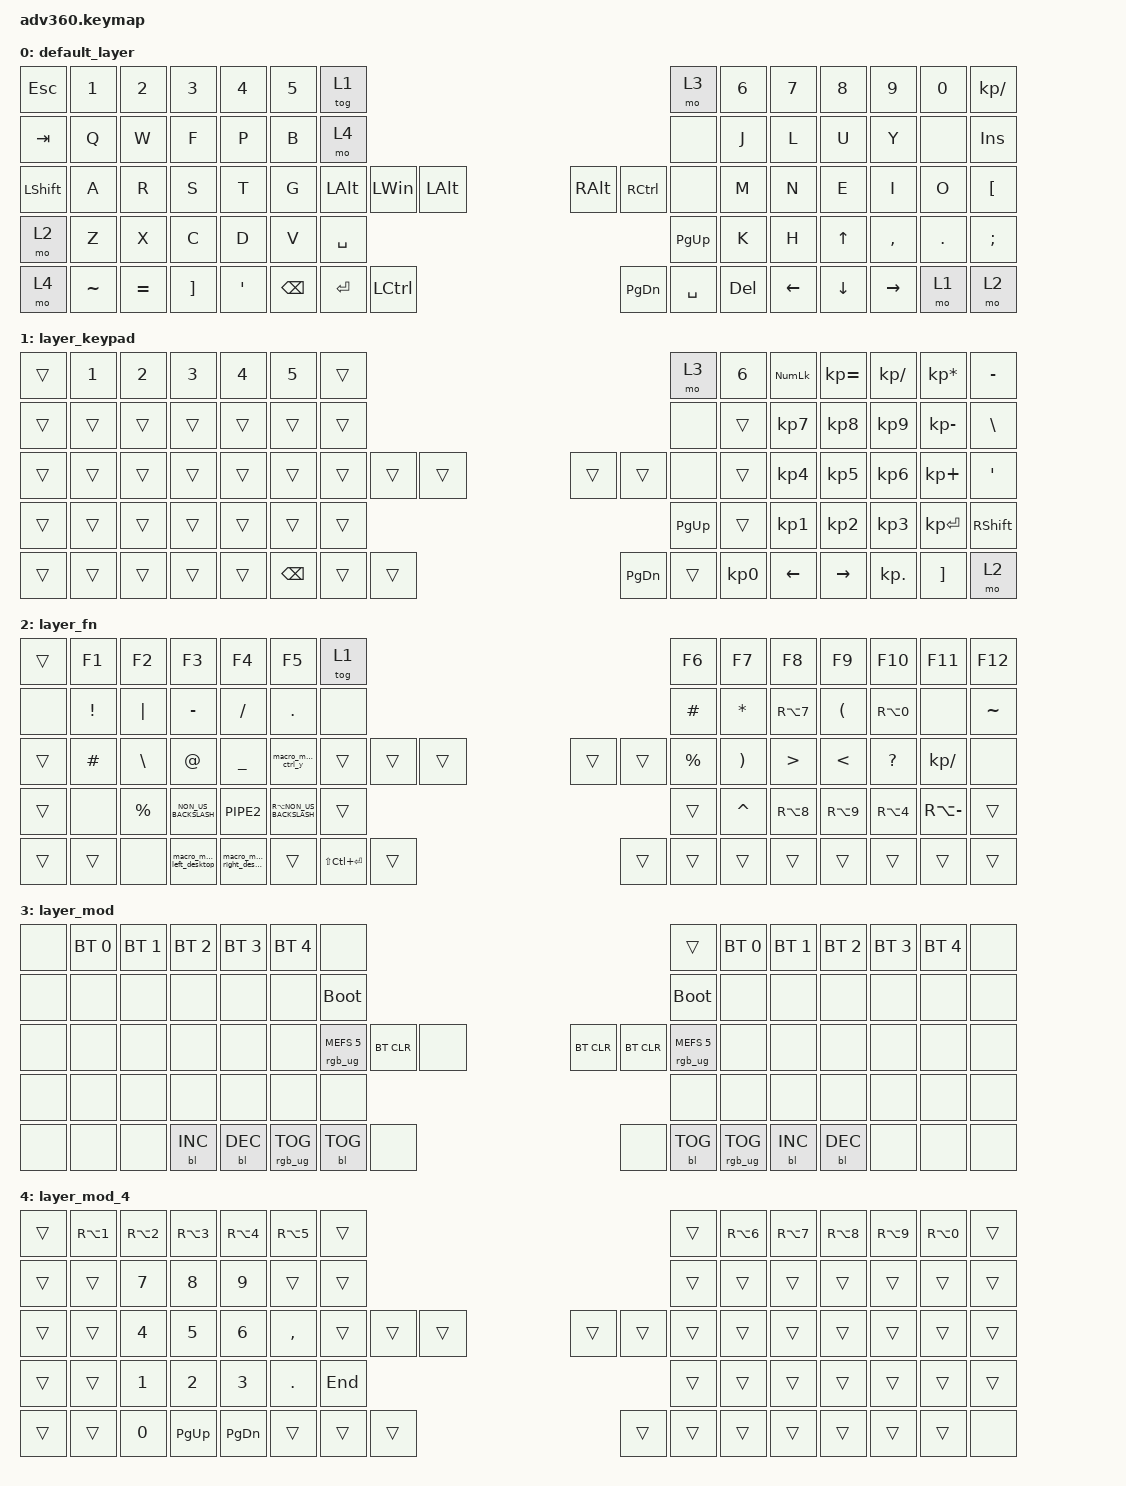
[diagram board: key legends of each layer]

/*
 * Copyright (c) 2020 The ZMK Contributors
 *
 * SPDX-License-Identifier: MIT
 */


/* THIS FILE WAS GENERATED!
 *
 * This file was generated automatically. You may or may not want to
 * edit it directly.
 */

#include <behaviors.dtsi>
#include <dt-bindings/zmk/keys.h>
#include <dt-bindings/zmk/bt.h>
#include <dt-bindings/zmk/rgb.h>
#include <dt-bindings/zmk/backlight.h>

/ {
  behaviors {
    #include "macros.dtsi"
    #include "version.dtsi"

    hm: homerow_mods {
        compatible = "zmk,behavior-hold-tap";
        label = "HOMEROW_MODS";
        #binding-cells = <2>;
        tapping-term-ms = <200>;
        quick_tap_ms = <175>;
        flavor = "tap-preferred";
        bindings = <&kp>, <&kp>;
    };
  };

    keymap {
        compatible = "zmk,keymap";


        default_layer {
            bindings = <
        &kp ESC     &kp N1     &kp N2             &kp N3          &kp N4  &kp N5              &tog 1                                                                              &mo 3  &kp N6    &kp N7    &kp N8     &kp N9   &kp N0     &kp KP_DIVIDE
        &kp TAB      &kp Q      &kp W              &kp F           &kp P   &kp B               &mo 4                                                                              &none   &kp J     &kp L     &kp U      &kp Y    &none        &kp INSERT
 &kp LEFT_SHIFT      &kp A      &kp R              &kp S           &kp T   &kp G            &kp LALT  &kp LEFT_WIN          &kp LALT                  &kp RIGHT_ALT  &kp RCTRL    &none   &kp M     &kp N     &kp E      &kp I    &kp O  &kp LEFT_BRACKET
          &mo 2      &kp Z      &kp X              &kp C           &kp D   &kp V                                           &kp SPACE                      &kp PG_UP                       &kp K     &kp H    &kp UP  &kp COMMA  &kp DOT     &kp SEMICOLON
          &mo 4  &kp TILDE  &kp EQUAL  &kp RIGHT_BRACKET  &kp APOSTROPHE                    &kp BSPC     &kp ENTER  &kp LEFT_CONTROL                      &kp PG_DN  &kp SPACE  &kp DEL          &kp LEFT  &kp DOWN  &kp RIGHT    &mo 1             &mo 2
            >;
        };

        layer_keypad {
            bindings = <
 &trans  &kp N1  &kp N2  &kp N3  &kp N4  &kp N5              &trans                                                         &mo 3  &kp N6  &kp KP_NUM  &kp KP_EQUAL  &kp KP_DIVIDE  &kp KP_MULTIPLY  &kp MINUS
 &trans  &trans  &trans  &trans  &trans  &trans              &trans                                                         &none  &trans   &kp KP_N7     &kp KP_N8      &kp KP_N9     &kp KP_MINUS   &kp BSLH
 &trans  &trans  &trans  &trans  &trans  &trans              &trans  &trans  &trans                     &trans  &trans      &none  &trans   &kp KP_N4     &kp KP_N5      &kp KP_N6      &kp KP_PLUS    &kp SQT
 &trans  &trans  &trans  &trans  &trans  &trans                              &trans                  &kp PG_UP                     &trans   &kp KP_N1     &kp KP_N2      &kp KP_N3     &kp KP_ENTER  &kp RSHFT
 &trans  &trans  &trans  &trans  &trans                    &kp BSPC  &trans  &trans                  &kp PG_DN  &trans  &kp KP_N0            &kp LEFT     &kp RIGHT     &kp KP_DOT         &kp RBKT      &mo 2
            >;
        };

        layer_fn {
            bindings = <
 &trans           &kp F1         &kp F2                     &kp F3                      &kp F4                    &kp F5            &tog 1                                                                  &kp F6                 &kp F7            &kp F8                &kp F9           &kp F10        &kp F11    &kp F12
  &none  &kp EXCLAMATION       &kp PIPE                  &kp MINUS                   &kp SLASH                   &kp DOT             &none                                                                &kp HASH           &kp ASTERISK  &kp RA(NUMBER_7)  &kp LEFT_PARENTHESIS  &kp RA(NUMBER_0)          &none  &kp TILDE
 &trans         &kp HASH  &kp BACKSLASH                &kp AT_SIGN              &kp UNDERSCORE       &macro_macro_ctrl_y            &trans             &trans  &trans                  &trans  &trans  &kp PERCENT  &kp RIGHT_PARENTHESIS  &kp GREATER_THAN         &kp LESS_THAN      &kp QUESTION  &kp KP_DIVIDE      &none
 &trans            &none    &kp PERCENT       &kp NON_US_BACKSLASH                   &kp PIPE2  &kp RA(NON_US_BACKSLASH)                                       &trans                  &trans                                   &kp CARET  &kp RA(NUMBER_8)      &kp RA(NUMBER_9)  &kp RA(NUMBER_4)  &kp RA(MINUS)     &trans
 &trans           &trans          &none  &macro_macro_left_desktop  &macro_macro_right_desktop                                      &trans  &kp LS(LC(ENTER))  &trans                  &trans  &trans       &trans                                   &trans                &trans            &trans         &trans     &trans
            >;
        };

        layer_mod {
            bindings = <
  &none  &bt BT_SEL 0  &bt BT_SEL 1  &bt BT_SEL 2  &bt BT_SEL 3  &bt BT_SEL 4                             &none                                                                              &trans  &bt BT_SEL 0  &bt BT_SEL 1  &bt BT_SEL 2  &bt BT_SEL 3  &bt BT_SEL 4   &none
  &none         &none         &none         &none         &none         &none                       &bootloader                                                                         &bootloader         &none         &none         &none         &none         &none   &none
  &none         &none         &none         &none         &none         &none            &rgb_ug RGB_MEFS_CMD 5  &bt BT_CLR   &none                  &bt BT_CLR  &bt BT_CLR  &rgb_ug RGB_MEFS_CMD 5         &none         &none         &none         &none         &none   &none
  &none         &none         &none         &none         &none         &none                                                 &none                       &none                                             &none         &none         &none         &none         &none   &none
  &none         &none         &none    &bl BL_INC    &bl BL_DEC                                 &rgb_ug RGB_TOG  &bl BL_TOG   &none                       &none  &bl BL_TOG         &rgb_ug RGB_TOG                  &bl BL_INC    &bl BL_DEC         &none         &none   &none
            >;
        };

        layer_mod_4 {
            bindings = <
 &trans  &kp RA(N1)  &kp RA(N2)  &kp RA(N3)  &kp RA(N4)  &kp RA(N5)            &trans                                                   &trans  &kp RA(N6)  &kp RA(N7)  &kp RA(N8)  &kp RA(N9)  &kp RA(N0)  &trans
 &trans      &trans      &kp N7      &kp N8      &kp N9      &trans            &trans                                                   &trans      &trans      &trans      &trans      &trans      &trans  &trans
 &trans      &trans      &kp N4      &kp N5      &kp N6   &kp COMMA            &trans  &trans   &trans                  &trans  &trans  &trans      &trans      &trans      &trans      &trans      &trans  &trans
 &trans      &trans      &kp N1      &kp N2      &kp N3     &kp DOT                            &kp END                  &trans                      &trans      &trans      &trans      &trans      &trans  &trans
 &trans      &trans      &kp N0   &kp PG_UP   &kp PG_DN                        &trans  &trans   &trans                  &trans  &trans  &trans                  &trans      &trans      &trans      &trans   &none
            >;
        };

    };
};
